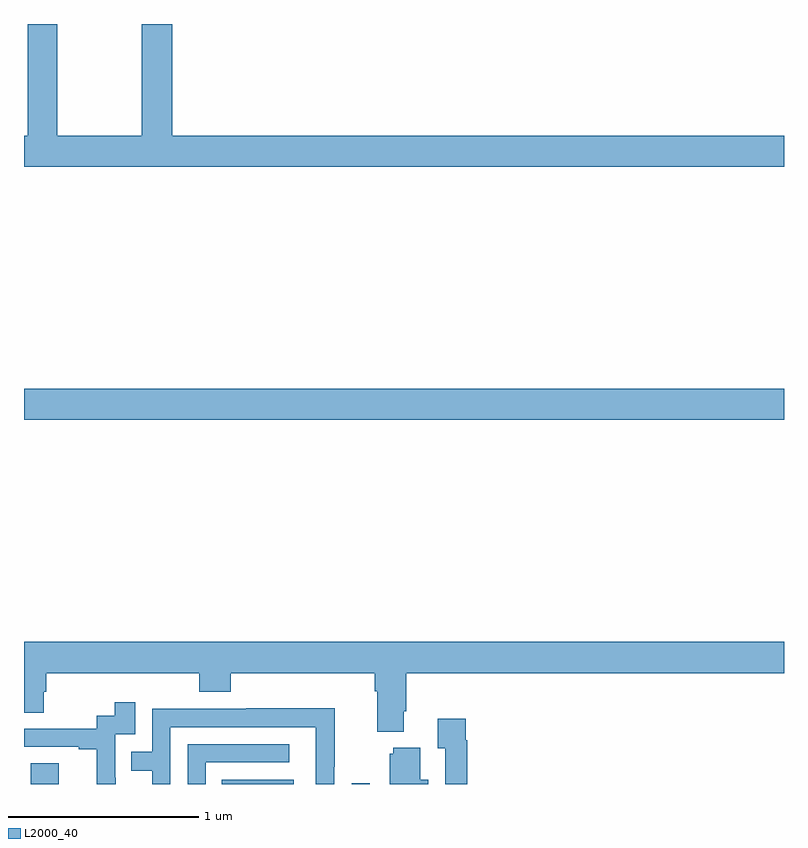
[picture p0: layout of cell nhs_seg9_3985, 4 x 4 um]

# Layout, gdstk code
import gdstk
lib = gdstk.Library(unit=1e-6, precision=1e-09)
def R(c, l, rs):  # rectangles x0, y0, x1, y1
    for r in rs: c.add(gdstk.rectangle(r[:2], r[2:], *l))
def P(c, l, *ps):  # polygons
    for p in ps: c.add(gdstk.Polygon(p, *l))
L2000_40 = (2000, 40)

nhs_seg9_3985 = lib.new_cell('nhs_seg9_3985')
R(nhs_seg9_3985, L2000_40, [(339.036,1198.5,339.184,1198.609), (340.042,1198.5,340.42,1198.522), (340.725,1198.5,340.821,1198.504), (339,1200.416,343,1200.58)])
P(nhs_seg9_3985, L2000_40, [(343,1201.912),(339.779,1201.912),(339.779,1202.5),(339.619,1202.5),(339.619,1201.912),(339.174,1201.912),(339.174,1202.5),(339.019,1202.5),(339.019,1201.912),(339,1201.912),(339,1201.748),(343,1201.748)],
  [(339,1198.876),(339.103,1198.876),(339.103,1198.986),(339.116,1198.986),(339.116,1199.084),(339.923,1199.084),(339.923,1198.985),(340.088,1198.985),(340.088,1199.084),(340.847,1199.084),(340.847,1198.988),(340.859,1198.988),(340.859,1198.775),(340.999,1198.775),(340.999,1198.882),(341.012,1198.882),(341.012,1199.084),(343,1199.084),(343,1199.248),(339,1199.248)],
  [(339.482,1198.532),(339.48,1198.532),(339.48,1198.761),(339.585,1198.761),(339.585,1198.93),(339.477,1198.93),(339.477,1198.86),(339.384,1198.86),(339.384,1198.791),(339,1198.791),(339,1198.695),(339.287,1198.695),(339.287,1198.683),(339.383,1198.683),(339.383,1198.5),(339.482,1198.5)],
  [(339.771,1198.8),(340.536,1198.8),(340.536,1198.5),(340.632,1198.5),(340.632,1198.591),(340.635,1198.591),(340.635,1198.898),(340.171,1198.898),(340.171,1198.896),(339.675,1198.896),(339.675,1198.671),(339.565,1198.671),(339.565,1198.57),(339.675,1198.57),(339.675,1198.5),(339.771,1198.5)],
  [(341.333,1198.73),(341.326,1198.73),(341.326,1198.843),(341.177,1198.843),(341.177,1198.687),(341.217,1198.687),(341.217,1198.5),(341.333,1198.5)],
  [(339.957,1198.614),(340.396,1198.614),(340.396,1198.71),(339.861,1198.71),(339.861,1198.5),(339.957,1198.5)],
  [(341.128,1198.522),(341.086,1198.522),(341.086,1198.69),(340.943,1198.69),(340.943,1198.659),(340.925,1198.659),(340.925,1198.5),(341.128,1198.5)])

lib.write_gds('nhs_seg9_3985.gds')
